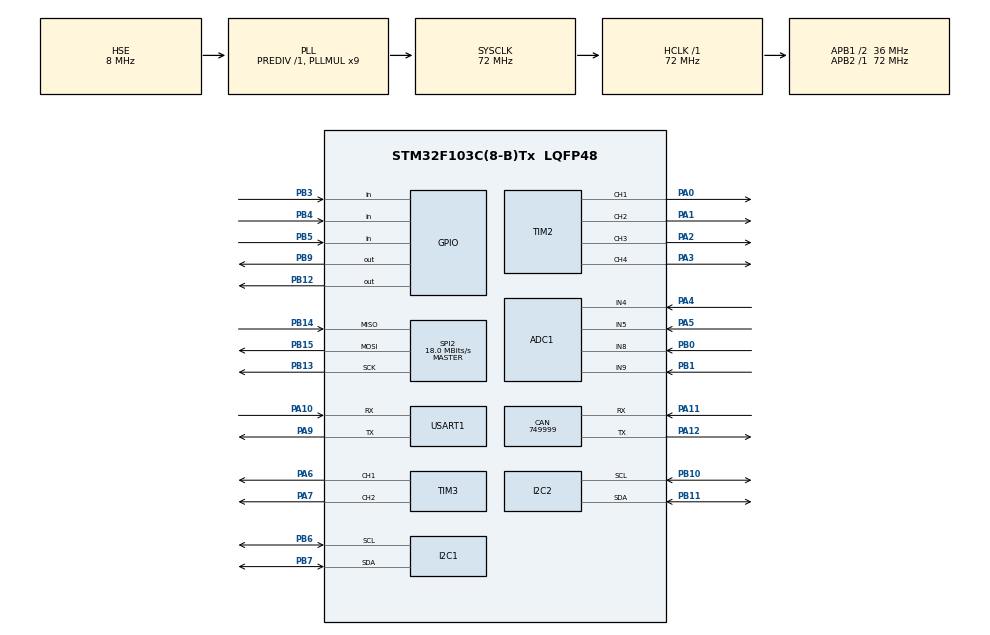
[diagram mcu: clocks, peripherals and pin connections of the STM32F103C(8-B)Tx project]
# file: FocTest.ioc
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ADC1.Channel-0\#ChannelRegularConversion=ADC_CHANNEL_8
ADC1.NbrOfConversionFlag=1
ADC1.Rank-0\#ChannelRegularConversion=1
ADC1.SamplingTime-0\#ChannelRegularConversion=ADC_SAMPLETIME_1CYCLE_5
ADC1.master=1
CAN.CalculateBaudRate=749999
CAN.CalculateTimeBit=1333
CAN.CalculateTimeQuantum=444.44444444444446
FREERTOS.Tasks01=defaultTask,0,128,StartDefaultTask,Default,NULL,Dynamic,NULL,NULL
Mcu.Family=STM32F1
Mcu.Name=STM32F103C(8-B)Tx
Mcu.Package=LQFP48
NVIC.PriorityGroup=NVIC_PRIORITYGROUP_4
NVIC.TIM4_IRQn=true\:15\:0\:false\:false\:true\:false\:false\:true\:true
NVIC.TimeBase=TIM4_IRQn
NVIC.TimeBaseIP=TIM4
PA0-WKUP.Signal=S_TIM2_CH1_ETR
PA1.Signal=S_TIM2_CH2
PA10.Mode=Asynchronous
PA10.Signal=USART1_RX
PA11.Mode=CAN_Activate
PA11.Signal=CAN_RX
PA12.Mode=CAN_Activate
PA12.Signal=CAN_TX
PA13.Mode=Serial_Wire
PA13.Signal=SYS_JTMS-SWDIO
PA14.Mode=Serial_Wire
PA14.Signal=SYS_JTCK-SWCLK
PA2.Signal=S_TIM2_CH3
PA3.Signal=S_TIM2_CH4
PA4.Signal=ADCx_IN4
PA5.Signal=ADCx_IN5
PA6.Signal=S_TIM3_CH1
PA7.Signal=S_TIM3_CH2
PA9.Mode=Asynchronous
PA9.Signal=USART1_TX
PB0.Signal=ADCx_IN8
PB1.Signal=ADCx_IN9
PB10.Mode=I2C
PB10.Signal=I2C2_SCL
PB11.Mode=I2C
PB11.Signal=I2C2_SDA
PB12.Signal=GPIO_Output
PB13.Mode=Full_Duplex_Master
PB13.Signal=SPI2_SCK
PB14.Mode=Full_Duplex_Master
PB14.Signal=SPI2_MISO
PB15.Mode=Full_Duplex_Master
PB15.Signal=SPI2_MOSI
PB3.Signal=GPIO_Input
PB4.Signal=GPIO_Input
PB5.Signal=GPIO_Input
PB6.Mode=I2C
PB6.Signal=I2C1_SCL
PB7.Mode=I2C
PB7.Signal=I2C1_SDA
PB9.Signal=GPIO_Output
PD0-OSC_IN.Mode=HSE-External-Oscillator
PD0-OSC_IN.Signal=RCC_OSC_IN
PD1-OSC_OUT.Mode=HSE-External-Oscillator
PD1-OSC_OUT.Signal=RCC_OSC_OUT
ProjectManager.HeapSize=0x200
ProjectManager.StackSize=0x400
ProjectManager.TargetToolchain=MDK-ARM V5.32
RCC.ADCPresc=RCC_ADCPCLK2_DIV6
RCC.AHBFreq_Value=72000000
RCC.APB1CLKDivider=RCC_HCLK_DIV2
RCC.APB1Freq_Value=36000000
RCC.APB1TimFreq_Value=72000000
RCC.APB2Freq_Value=72000000
RCC.APB2TimFreq_Value=72000000
RCC.HCLKFreq_Value=72000000
RCC.PLLMUL=RCC_PLL_MUL9
RCC.PLLSourceVirtual=RCC_PLLSOURCE_HSE
RCC.SYSCLKFreq_VALUE=72000000
RCC.SYSCLKSource=RCC_SYSCLKSOURCE_PLLCLK
RCC.USBFreq_Value=72000000
SH.ADCx_IN4.0=ADC1_IN4,IN4
SH.ADCx_IN5.0=ADC1_IN5,IN5
SH.ADCx_IN8.0=ADC1_IN8,IN8
SH.ADCx_IN9.0=ADC1_IN9,IN9
SH.S_TIM2_CH1_ETR.0=TIM2_CH1,PWM Generation1 CH1
SH.S_TIM2_CH2.0=TIM2_CH2,PWM Generation2 CH2
SH.S_TIM2_CH3.0=TIM2_CH3,PWM Generation3 CH3
SH.S_TIM2_CH4.0=TIM2_CH4,PWM Generation4 CH4
SH.S_TIM3_CH1.0=TIM3_CH1,PWM Generation1 CH1
SH.S_TIM3_CH2.0=TIM3_CH2,PWM Generation2 CH2
SPI2.CalculateBaudRate=18.0 MBits/s
SPI2.Direction=SPI_DIRECTION_2LINES
SPI2.Mode=SPI_MODE_MASTER
SPI2.VirtualType=VM_MASTER
TIM2.Channel-PWM\ Generation1\ CH1=TIM_CHANNEL_1
TIM2.Channel-PWM\ Generation2\ CH2=TIM_CHANNEL_2
TIM2.Channel-PWM\ Generation3\ CH3=TIM_CHANNEL_3
TIM2.Channel-PWM\ Generation4\ CH4=TIM_CHANNEL_4
TIM3.Channel-PWM\ Generation1\ CH1=TIM_CHANNEL_1
TIM3.Channel-PWM\ Generation2\ CH2=TIM_CHANNEL_2
USART1.VirtualMode=VM_ASYNC
VP_FREERTOS_VS_CMSIS_V1.Mode=CMSIS_V1
VP_SYS_VS_tim4.Mode=TIM4
VP_TIM1_VS_ClockSourceINT.Mode=Internal
board=custom

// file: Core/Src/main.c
/* USER CODE BEGIN Header */
/**
  ******************************************************************************
  * @file           : main.c
  * @brief          : Main program body
  ******************************************************************************
  * @attention
  *
  * Copyright (c) 2026 STMicroelectronics.
  * All rights reserved.
  *
  * This software is licensed under terms that can be found in the LICENSE file
  * in the root directory of this software component.
  * If no LICENSE file comes with this software, it is provided AS-IS.
  *
  ******************************************************************************
  */
/* USER CODE END Header */
#include "main.h"
#include "cmsis_os.h"
#include "adc.h"
#include "can.h"
#include "i2c.h"
#include "spi.h"
#include "tim.h"
#include "usart.h"
#include "gpio.h"

/* USER CODE BEGIN Includes */
#include <stdio.h>
#include "AS5600.h"
/* USER CODE END Includes */

void SystemClock_Config(void);
void MX_FREERTOS_Init(void);

/* USER CODE BEGIN 0 */
struct __FILE {
    int handle;
};

FILE __stdout;

int fputc(int ch, FILE *f)
{
  HAL_UART_Transmit(&huart1, (uint8_t *)&ch, 1, 0xFFFF);
  return ch;
}
/* USER CODE END 0 */

int main(void)
{

  /* MCU Configuration--------------------------------------------------------*/

  /* Reset of all peripherals, Initializes the Flash interface and the Systick. */
  HAL_Init();

  /* Configure the system clock */
  SystemClock_Config();

  /* Initialize all configured peripherals */
  MX_GPIO_Init();
  MX_ADC1_Init();
  MX_CAN_Init();
  MX_TIM1_Init();
  MX_TIM2_Init();
  MX_TIM3_Init();
  MX_USART1_UART_Init();
  MX_I2C1_Init();
  MX_I2C2_Init();
  MX_SPI2_Init();
  /* USER CODE BEGIN 2 */
  printf("UART printf OK\r\n");
  /* USER CODE END 2 */

  /* Call init function for freertos objects (in cmsis_os2.c) */
  MX_FREERTOS_Init();

  /* Start scheduler */
  osKernelStart();

  /* We should never get here as control is now taken by the scheduler */

  /* Infinite loop */
  while (1)
  {

  }
}

void SystemClock_Config(void)
{
  RCC_OscInitTypeDef RCC_OscInitStruct = {0};
  RCC_ClkInitTypeDef RCC_ClkInitStruct = {0};
  RCC_PeriphCLKInitTypeDef PeriphClkInit = {0};

  /** Initializes the RCC Oscillators according to the specified parameters
  * in the RCC_OscInitTypeDef structure.
  */
  RCC_OscInitStruct.OscillatorType = RCC_OSCILLATORTYPE_HSE;
  RCC_OscInitStruct.HSEState = RCC_HSE_ON;
  RCC_OscInitStruct.HSEPredivValue = RCC_HSE_PREDIV_DIV1;
  RCC_OscInitStruct.HSIState = RCC_HSI_ON;
  RCC_OscInitStruct.PLL.PLLState = RCC_PLL_ON;
  RCC_OscInitStruct.PLL.PLLSource = RCC_PLLSOURCE_HSE;
  RCC_OscInitStruct.PLL.PLLMUL = RCC_PLL_MUL9;
  if (HAL_RCC_OscConfig(&RCC_OscInitStruct) != HAL_OK)
  {
    Error_Handler();
  }

  /** Initializes the CPU, AHB and APB buses clocks
  */
  RCC_ClkInitStruct.ClockType = RCC_CLOCKTYPE_HCLK|RCC_CLOCKTYPE_SYSCLK
                              |RCC_CLOCKTYPE_PCLK1|RCC_CLOCKTYPE_PCLK2;
  RCC_ClkInitStruct.SYSCLKSource = RCC_SYSCLKSOURCE_PLLCLK;
  RCC_ClkInitStruct.AHBCLKDivider = RCC_SYSCLK_DIV1;
  RCC_ClkInitStruct.APB1CLKDivider = RCC_HCLK_DIV2;
  RCC_ClkInitStruct.APB2CLKDivider = RCC_HCLK_DIV1;

  if (HAL_RCC_ClockConfig(&RCC_ClkInitStruct, FLASH_LATENCY_2) != HAL_OK)
  {
    Error_Handler();
  }
  PeriphClkInit.PeriphClockSelection = RCC_PERIPHCLK_ADC;
  PeriphClkInit.AdcClockSelection = RCC_ADCPCLK2_DIV6;
  if (HAL_RCCEx_PeriphCLKConfig(&PeriphClkInit) != HAL_OK)
  {
    Error_Handler();
  }
}

void HAL_TIM_PeriodElapsedCallback(TIM_HandleTypeDef *htim)
{
  if (htim->Instance == TIM4)
  {
    HAL_IncTick();
  }
}

void Error_Handler(void)
{
  __disable_irq();
  while (1)
  {
  }
}

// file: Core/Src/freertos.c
/* USER CODE BEGIN Header */
/**
  ******************************************************************************
  * File Name          : freertos.c
  * Description        : Code for freertos applications
  ******************************************************************************
  * @attention
  *
  * Copyright (c) 2026 STMicroelectronics.
  * All rights reserved.
  *
  * This software is licensed under terms that can be found in the LICENSE file
  * in the root directory of this software component.
  * If no LICENSE file comes with this software, it is provided AS-IS.
  *
  ******************************************************************************
  */
/* USER CODE END Header */

#include "FreeRTOS.h"
#include "task.h"
#include "main.h"
#include "cmsis_os.h"

/* USER CODE BEGIN Includes */
#include <stdio.h>
#include <string.h>
#include "INA240.h"
#include "MotorPWM.h"
#include "FOC.h"
#include "AS5600.h"
#include "gpio.h"
/* USER CODE END Includes */

/* USER CODE BEGIN Variables */
osThreadId motorTaskHandle;
osThreadId logTaskHandle;
/* USER CODE END Variables */
osThreadId defaultTaskHandle;

/* USER CODE BEGIN FunctionPrototypes */
void StartMotorTask(void const * argument);
void StartLogTask(void const * argument);
/* USER CODE END FunctionPrototypes */

void StartDefaultTask(void const * argument);

void MX_FREERTOS_Init(void); /* (MISRA C 2004 rule 8.1) */

/* GetIdleTaskMemory prototype (linked to static allocation support) */
void vApplicationGetIdleTaskMemory( StaticTask_t **ppxIdleTaskTCBBuffer, StackType_t **ppxIdleTaskStackBuffer, uint32_t *pulIdleTaskStackSize );

/* USER CODE BEGIN GET_IDLE_TASK_MEMORY */
static StaticTask_t xIdleTaskTCBBuffer;
static StackType_t xIdleStack[configMINIMAL_STACK_SIZE];

void vApplicationGetIdleTaskMemory( StaticTask_t **ppxIdleTaskTCBBuffer, StackType_t **ppxIdleTaskStackBuffer, uint32_t *pulIdleTaskStackSize )
{
  *ppxIdleTaskTCBBuffer = &xIdleTaskTCBBuffer;
  *ppxIdleTaskStackBuffer = &xIdleStack[0];
  *pulIdleTaskStackSize = configMINIMAL_STACK_SIZE;
}
/* USER CODE END GET_IDLE_TASK_MEMORY */

void MX_FREERTOS_Init(void) {

  osThreadDef(defaultTask, StartDefaultTask, osPriorityIdle, 0, 128);
  defaultTaskHandle = osThreadCreate(osThread(defaultTask), NULL);

  /* USER CODE BEGIN RTOS_THREADS */
  osThreadDef(motorTask, StartMotorTask, osPriorityAboveNormal, 0, 512);
  motorTaskHandle = osThreadCreate(osThread(motorTask), NULL);

  osThreadDef(logTask, StartLogTask, osPriorityLow, 0, 512);
  logTaskHandle = osThreadCreate(osThread(logTask), NULL);
  /* USER CODE END RTOS_THREADS */
}

void StartDefaultTask(void const * argument)
{
  /* USER CODE BEGIN StartDefaultTask */
  (void)argument;
  for (;;)
  {
    osDelay(1000);
  }
  /* USER CODE END StartDefaultTask */
}

/* USER CODE BEGIN Application */

void StartMotorTask(void const * argument)
{
  uint8_t key_stable[3] = {1U, 1U, 1U};
  uint8_t key_cnt[3] = {0};
  (void)argument;

  INA240_Init();
  MotorPWM_Init();
  FOC_Init();
  /* 默认 KEY1：不对齐、不加电压，只跑 Step 采数 + 日志 */
  FOC_SetMode(FOC_MODE_STOP);

  printf("\r\nDefault STOP (KEY1). Sensors logged; motor Uq=0.\r\n");
  printf("KEY1 stop  KEY2 speed  KEY3 position (need good AS5600)\r\n");
  printf("Full FOC: I->Clarke->Park | PI->Uq->InvPark->SVPWM\r\n");
  printf("Bad reads ignored (hold last good / Uq=0).\r\n\r\n");

  for (;;)
  {
    const uint8_t raw[3] = {
      (HAL_GPIO_ReadPin(GPIOB, GPIO_PIN_3) == GPIO_PIN_RESET) ? 1U : 0U,
      (HAL_GPIO_ReadPin(GPIOB, GPIO_PIN_4) == GPIO_PIN_RESET) ? 1U : 0U,
      (HAL_GPIO_ReadPin(GPIOB, GPIO_PIN_5) == GPIO_PIN_RESET) ? 1U : 0U
    };
    uint8_t i;

    for (i = 0; i < 3U; i++)
    {
      if (raw[i] == key_stable[i])
      {
        key_cnt[i] = 0;
      }
      else if (++key_cnt[i] >= 20U)
      {
        key_cnt[i] = 0;
        key_stable[i] = raw[i];
        if (raw[i] != 0U)
        {
          if (i == 0U)
          {
            FOC_SetMode(FOC_MODE_STOP);
            printf("MODE stop\r\n");
          }
          else if (i == 1U)
          {
            /* 进速度前尝试对齐；失败则仍可进模式但 Uq 会被置 0 */
            printf("Align...\r\n");
            FOC_BeginAlign();
            osDelay(800);
            FOC_FinishAlign();
            FOC_SetMode(FOC_MODE_SPEED);
            printf("MODE speed\r\n");
          }
          else
          {
            printf("Align...\r\n");
            FOC_BeginAlign();
            osDelay(800);
            FOC_FinishAlign();
            FOC_SetMode(FOC_MODE_POSITION);
            printf("MODE hold position\r\n");
          }
        }
      }
    }

    FOC_Step(0.001f);
    osDelay(1);
  }
}

void StartLogTask(void const * argument)
{
  (void)argument;

  osDelay(200);

  for (;;)
  {
    printf("mode=%u | ASok=%u/%u AS=%u/%u | Iok=%u/%u INA=%u/%u/%u/%u | Iq=%ld/%ld mA | Uq=%ld/%ld mV\r\n",
           (unsigned)FOC_GetMode(),
           (unsigned)FOC_GetAngleOk(0), (unsigned)FOC_GetAngleOk(1),
           (unsigned)FOC_GetAngleRaw(0), (unsigned)FOC_GetAngleRaw(1),
           (unsigned)FOC_GetCurrentOk(0), (unsigned)FOC_GetCurrentOk(1),
           (unsigned)FOC_GetInaRaw(0), (unsigned)FOC_GetInaRaw(1),
           (unsigned)FOC_GetInaRaw(2), (unsigned)FOC_GetInaRaw(3),
           (long)(FOC_GetIq(0) * 1000.0f), (long)(FOC_GetIq(1) * 1000.0f),
           (long)(FOC_GetUq(0) * 1000.0f), (long)(FOC_GetUq(1) * 1000.0f));

    osDelay(300);
  }
}

/* USER CODE END Application */
